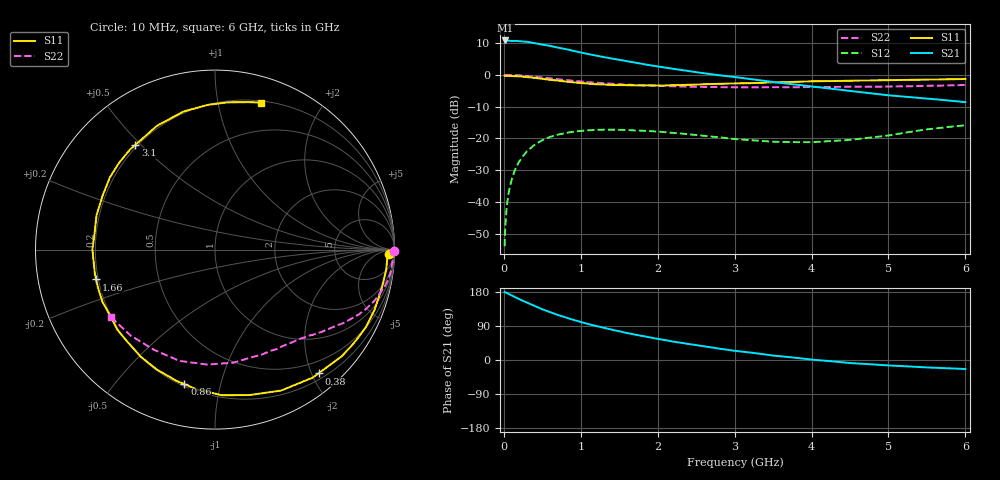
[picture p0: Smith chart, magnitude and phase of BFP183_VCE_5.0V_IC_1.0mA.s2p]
! Infineon Technologies  Discrete & RF Semiconductors
! BFP183
! VCE = 5.0 V,  IC =  1.0 mA
! Common Emitter S-Parameters:  Jan 2016
# GHz  S  MA  R  50
!  f  S11  S21  S12  S22
! GHz  MAG  ANG  MAG  ANG  MAG  ANG  MAG  ANG
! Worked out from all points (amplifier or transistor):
!   210 points, 10 MHz to 6 GHz, reference 50 ohm
!   highest |S21| = 10.8 dB at 20 MHz (marker M1)
!   |S21| within 3 dB of that: start of sweep to 855.2 MHz
!   unconditionally stable (mu >= 1): 2.489 GHz to end of sweep
!   at 185 MHz: K = 0.08, MSG = 19.3 dB, |S12| = -28.0 dB
!   at 1.52 GHz: K = 0.58, MSG = 11.0 dB, |S12| = -17.3 dB
!   at 6 GHz: K = 1.03, MAG = 2.5 dB, |S12| = -15.9 dB
!   S11 on the Smith chart (normalised r, x): 10 MHz: 41, -28; 380 MHz: 0.29, -2.11; 860 MHz: 0.21, -0.78; 1.66 GHz: 0.19, -0.12; 3.1 GHz: 0.19, +0.48; 6 GHz: 0.22, +1.34
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0.01  0.9673 -1.3  3.427 179.4  0.002 88.5  0.9999 -0.4
0.02  0.9615 -2.7  3.469 178.7  0.0042 87.2  0.9915 -0.9
0.035  0.9604 -4.7  3.462 177.0  0.0076 87.6  0.9936 -1.6
0.055  0.9592 -7.4  3.451 174.7  0.0122 86.6  0.9951 -2.5
0.125  0.9499 -16.9  3.411 167.9  0.0272 78.6  0.988 -5.9
0.195  0.9453 -26.4  3.384 161.1  0.0421 73.6  0.9811 -9.2
0.3  0.9229 -40.1  3.309 151.7  0.0622 65.6  0.958 -13.6
0.38  0.899 -50.1  3.184 144.2  0.0756 59.4  0.9382 -16.9
0.5  0.8675 -64.9  2.983 133.8  0.0933 51.4  0.9059 -21.2
0.6  0.8329 -76.6  2.858 126.2  0.1051 45.2  0.8786 -24.3
0.8  0.7859 -97.3  2.549 112.2  0.1212 34.3  0.8263 -29.6
0.86  0.769 -102.8  2.448 108.6  0.1246 31.4  0.8111 -30.9
1.02  0.738 -117.6  2.216 99.1  0.1313 24.5  0.7781 -34.2
1.3  0.7039 -140.8  1.897 84.8  0.1367 14.7  0.7348 -39.3
1.5  0.6914 -155.1  1.722 75.4  0.1358 9.2  0.7082 -42.6
1.66  0.6829 -165.9  1.584 69.0  0.1337 5.5  0.6932 -45.2
2.02  0.677 173.1  1.34 55.1  0.1272 -0.8  0.6694 -50.9
2.6  0.7105 145.5  1.056 36.1  0.1092 -5.6  0.6421 -61.6
3.1  0.7332 127.2  0.888 22.1  0.0953 -4.1  0.6335 -72.0
4.1  0.7907 100.8  0.635 -0.6  0.0881 13.3  0.6408 -96.7
5.1  0.8256 83.7  0.464 -15.3  0.1161 27.6  0.6545 -124.1
6  0.8581 72.6  0.371 -23.9  0.1605 24.5  0.6918 -147.3
